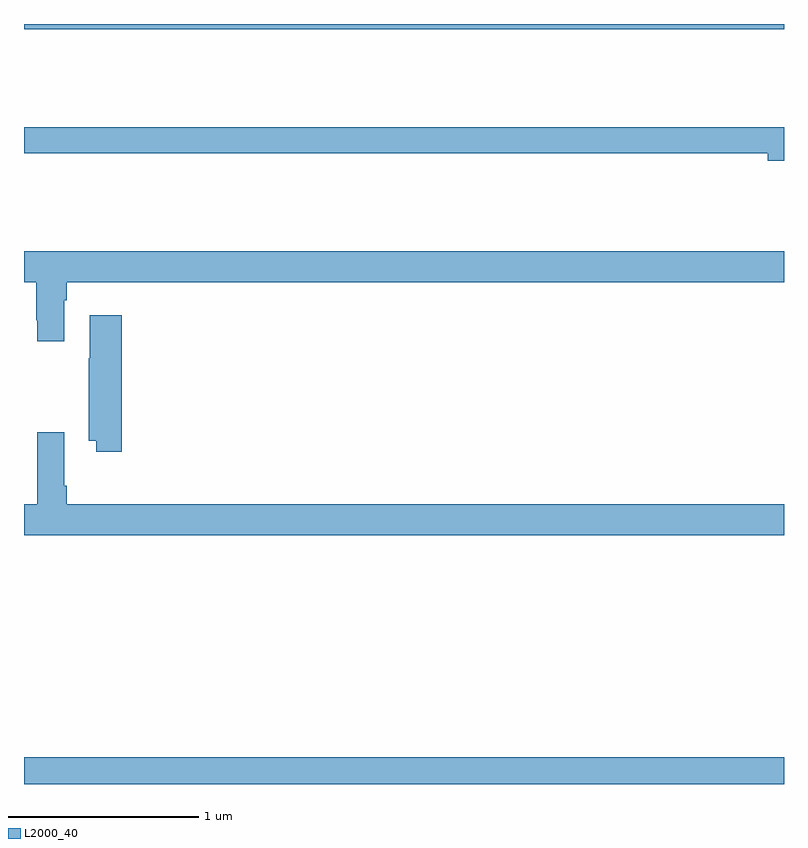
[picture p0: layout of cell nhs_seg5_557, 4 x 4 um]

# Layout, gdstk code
import gdstk
lib = gdstk.Library(unit=1e-6, precision=1e-09)
def R(c, l, rs):  # rectangles x0, y0, x1, y1
    for r in rs: c.add(gdstk.rectangle(r[:2], r[2:], *l))
def P(c, l, *ps):  # polygons
    for p in ps: c.add(gdstk.Polygon(p, *l))
L2000_40 = (2000, 40)

nhs_seg5_557 = lib.new_cell('nhs_seg5_557')
R(nhs_seg5_557, L2000_40, [(147,840.799,151,840.94), (147,844.772,151,844.799)])
P(nhs_seg5_557, L2000_40, [(151,844.256),(147,844.256),(147,844.12),(150.914,844.12),(150.914,844.078),(151,844.078)],
  [(147.211,843.344),(147.224,843.344),(147.224,843.44),(151,843.44),(151,843.604),(147,843.604),(147,843.44),(147.064,843.44),(147.064,843.241),(147.071,843.241),(147.071,843.129),(147.211,843.129)],
  [(147.515,843.265),(147.347,843.265),(147.347,843.041),(147.34,843.041),(147.34,842.606),(147.38,842.606),(147.38,842.547),(147.515,842.547)],
  [(151,842.272),(147.224,842.272),(147.224,842.368),(147.211,842.368),(147.211,842.65),(147.071,842.65),(147.071,842.272),(147,842.272),(147,842.108),(151,842.108)])

lib.write_gds('nhs_seg5_557.gds')
